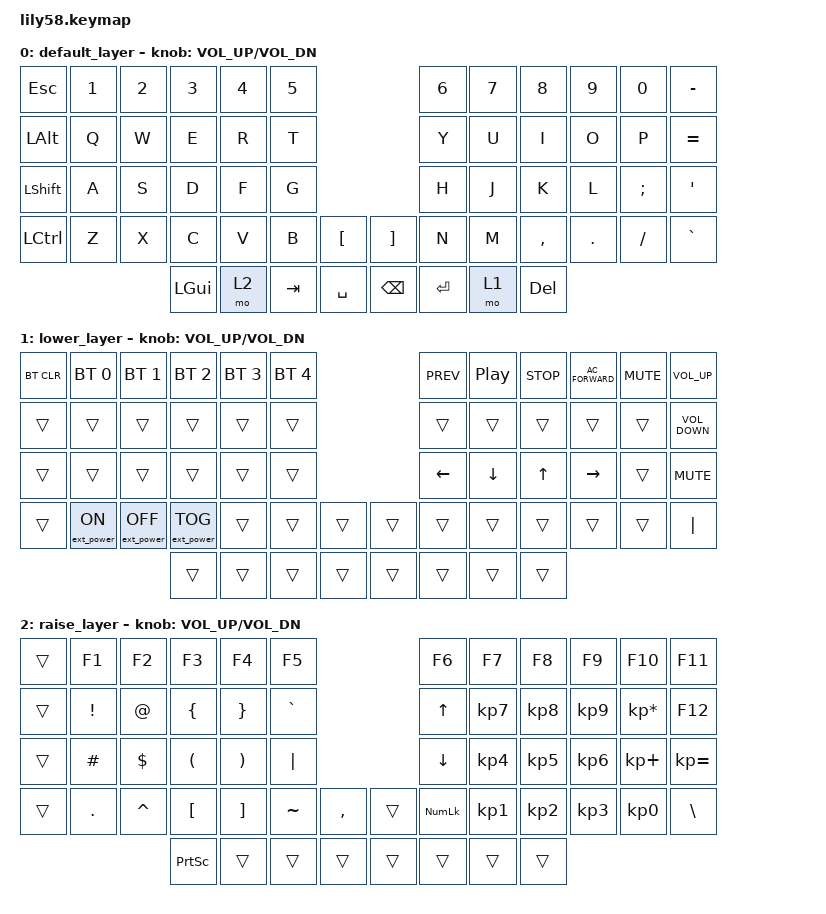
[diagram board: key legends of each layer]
/*
 * Copyright (c) 2020 The ZMK Contributors
 *
 * SPDX-License-Identifier: MIT
 */

#include <behaviors.dtsi>
#include <dt-bindings/zmk/bt.h>
#include <dt-bindings/zmk/ext_power.h>
#include <dt-bindings/zmk/keys.h>

/ {
    keymap {
        compatible = "zmk,keymap";

        default_layer {
            // ------------------------------------------------------------------------------------------------------------
            // |  ESC  |  1  |  2  |  3   |  4   |  5   |                   |  6   |  7    |  8    |  9   |   0   |   `   |
            // |  TAB  |  Q  |  W  |  E   |  R   |  T   |                   |  Y   |  U    |  I    |  O   |   P   |   -   |
            // |  CTRL |  A  |  S  |  D   |  F   |  G   |                   |  H   |  J    |  K    |  L   |   ;   |   '   |
            // | SHIFT |  Z  |  X  |  C   |  V   |  B   |   "["  |  |  "]"  |  N   |  M    |  ,    |  .   |   /   | SHIFT |
            //                     | ALT  | GUI  | LOWER|  SPACE |  | ENTER | RAISE| BSPC  | GUI   |

            bindings = <
&kp ESC           &kp N1  &kp N2  &kp N3        &kp N4  &kp N5                               &kp N6     &kp N7  &kp N8      &kp N9   &kp N0    &kp MINUS
&kp LEFT_ALT      &kp Q   &kp W   &kp E         &kp R   &kp T                                &kp Y      &kp U   &kp I       &kp O    &kp P     &kp EQUAL
&kp LEFT_SHIFT    &kp A   &kp S   &kp D         &kp F   &kp G                                &kp H      &kp J   &kp K       &kp L    &kp SEMI  &kp SQT
&kp LEFT_CONTROL  &kp Z   &kp X   &kp C         &kp V   &kp B    &kp LBKT     &kp RBKT       &kp N      &kp M   &kp COMMA   &kp DOT  &kp FSLH  &kp GRAVE
                                  &kp LEFT_GUI  &mo 2   &kp TAB  &kp SPACE    &kp BACKSPACE  &kp ENTER  &mo 1   &kp DELETE
            >;

            sensor-bindings = <&inc_dec_kp C_VOL_UP C_VOL_DN>;
        };

        lower_layer {
            // ------------------------------------------------------------------------------------------------------------
            // | BTCLR | BT1 | BT2 |  BT3 |  BT4 |  BT5 |                   |      |       |       |      |       |       |
            // |  F1   |  F2 |  F3 |  F4  |  F5  |  F6  |                   |  F7  |  F8   |  F9   |  F10 |  F11  |  F12  |
            // |   `   |  !  |  @  |  #   |  $   |  %   |                   |  ^   |  &    |  *    |  (   |   )   |   ~   |
            // |       |     |     |      |      |      |        |  |       |      |  _    |  +    |  {   |   }   |  "|"  |
            //                     |      |      |      |        |  |       |      |       |       |

            bindings = <
&bt BT_CLR  &bt BT_SEL 0      &bt BT_SEL 1       &bt BT_SEL 2       &bt BT_SEL 3  &bt BT_SEL 4                    &kp C_PREV      &kp C_PP        &kp C_STOP    &kp C_AC_FORWARD  &kp C_MUTE  &kp C_VOL_UP
&trans      &trans            &trans             &trans             &trans        &trans                          &trans          &trans          &trans        &trans            &trans      &kp C_VOLUME_DOWN
&trans      &trans            &trans             &trans             &trans        &trans                          &kp LEFT_ARROW  &kp DOWN_ARROW  &kp UP_ARROW  &kp RIGHT_ARROW   &trans      &kp C_MUTE
&trans      &ext_power EP_ON  &ext_power EP_OFF  &ext_power EP_TOG  &trans        &trans        &trans    &trans  &trans          &trans          &trans        &trans            &trans      &kp PIPE
                                                 &trans             &trans        &trans        &trans    &trans  &trans          &trans          &trans
            >;

            sensor-bindings = <&inc_dec_kp C_VOL_UP C_VOL_DN>;
        };

        raise_layer {
            // ------------------------------------------------------------------------------------------------------------
            // |       |     |     |      |      |      |                   |      |       |       |      |       |       |
            // |   `   |  1  |  2  |  3   |  4   |  5   |                   |  6   |   7   |   8   |  9   |   0   |       |
            // |   F1  |  F2 |  F3 |  F4  |  F5  |  F6  |                   |      |   <-  |   v   |  ^   |  ->   |       |
            // |   F7  |  F8 |  F9 |  F10 |  F11 |  F12 |        |  |       |  +   |   -   |   =   |  [   |   ]   |   \   |
            //                     |      |      |      |        |  |       |      |       |       |

            bindings = <
&trans  &kp F1           &kp F2       &kp F3                &kp F4                 &kp F5                          &kp F6          &kp F7           &kp F8     &kp F9     &kp F10          &kp F11
&trans  &kp EXCLAMATION  &kp AT_SIGN  &kp LEFT_BRACE        &kp RIGHT_BRACE        &kp GRAVE                       &kp UP_ARROW    &kp KP_NUMBER_7  &kp KP_N8  &kp KP_N9  &kp KP_ASTERISK  &kp F12
&trans  &kp HASH         &kp DOLLAR   &kp LEFT_PARENTHESIS  &kp RIGHT_PARENTHESIS  &kp PIPE                        &kp DOWN        &kp KP_N4        &kp KP_N5  &kp KP_N6  &kp KP_PLUS      &kp KP_EQUAL
&trans  &kp PERIOD       &kp CARET    &kp LEFT_BRACKET      &kp RIGHT_BRACKET      &kp TILDE  &kp COMMA    &trans  &kp KP_NUMLOCK  &kp KP_N1        &kp KP_N2  &kp KP_N3  &kp KP_NUMBER_0  &kp BSLH
                                      &kp PRINTSCREEN       &trans                 &trans     &trans       &trans  &trans          &trans           &trans
            >;

            sensor-bindings = <&inc_dec_kp C_VOL_UP C_VOL_DN>;
        };
    };
};
